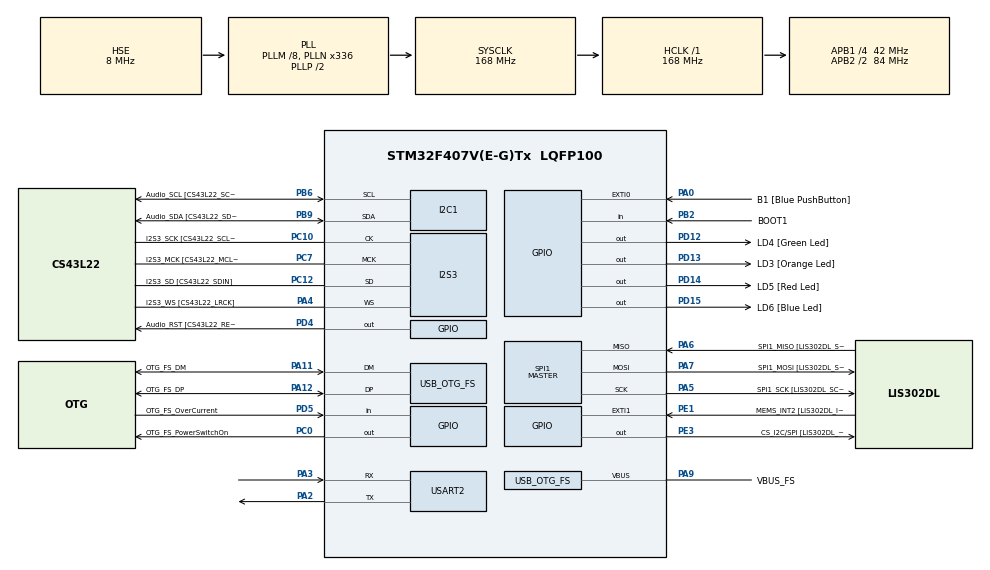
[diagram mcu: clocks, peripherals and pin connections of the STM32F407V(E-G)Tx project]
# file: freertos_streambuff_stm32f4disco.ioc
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FREERTOS.Tasks01=defaultTask,24,128,StartDefaultTask,Default,NULL,Dynamic,NULL,NULL
I2S3.AudioFreq-Half_Duplex_Master=I2S_AUDIOFREQ_96K
I2S3.ErrorAudioFreq=-2.34 %
I2S3.ErrorAudioFreq-Half_Duplex_Master=0.8 %
I2S3.FullDuplexMode=I2S_FULLDUPLEXMODE_DISABLE
I2S3.Instance=SPI$Index
I2S3.RealAudioFreq=93.75 KHz
I2S3.RealAudioFreq-Half_Duplex_Master=96.774 KHz
I2S3.VirtualMode=I2S_MODE_MASTER
Mcu.Family=STM32F4
Mcu.Name=STM32F407V(E-G)Tx
Mcu.Package=LQFP100
NVIC.OTG_FS_IRQn=true\:0\:0\:false\:false\:true\:false\:true\:true
NVIC.PriorityGroup=NVIC_PRIORITYGROUP_4
NVIC.USART2_IRQn=true\:0\:0\:false\:false\:true\:true\:true\:true
PA0-WKUP.GPIO_Label=B1 [Blue PushButton]
PA0-WKUP.GPIO_ModeDefaultEXTI=GPIO_MODE_IT_RISING_FALLING
PA0-WKUP.GPIO_PuPd=GPIO_PULLDOWN
PA0-WKUP.Signal=GPXTI0
PA10.GPIO_Label=OTG_FS_ID
PA10.GPIO_Mode=GPIO_MODE_AF_PP
PA10.GPIO_PuPd=GPIO_NOPULL
PA10.GPIO_Speed=GPIO_SPEED_FREQ_LOW
PA10.Signal=USB_OTG_FS_ID
PA11.GPIO_Label=OTG_FS_DM
PA11.GPIO_Mode=GPIO_MODE_AF_PP
PA11.GPIO_PuPd=GPIO_NOPULL
PA11.GPIO_Speed=GPIO_SPEED_FREQ_LOW
PA11.Mode=Host_Only
PA11.Signal=USB_OTG_FS_DM
PA12.GPIO_Label=OTG_FS_DP
PA12.GPIO_Mode=GPIO_MODE_AF_PP
PA12.GPIO_PuPd=GPIO_NOPULL
PA12.GPIO_Speed=GPIO_SPEED_FREQ_LOW
PA12.Mode=Host_Only
PA12.Signal=USB_OTG_FS_DP
PA13.GPIO_Label=SWDIO
PA13.Mode=Serial_Wire
PA13.Signal=SYS_JTMS-SWDIO
PA14.GPIO_Label=SWCLK
PA14.Mode=Serial_Wire
PA14.Signal=SYS_JTCK-SWCLK
PA2.Mode=Asynchronous
PA2.Signal=USART2_TX
PA3.Mode=Asynchronous
PA3.Signal=USART2_RX
PA4.GPIO_Label=I2S3_WS [CS43L22_LRCK]
PA4.GPIO_Mode=GPIO_MODE_AF_PP
PA4.GPIO_PuPd=GPIO_NOPULL
PA4.GPIO_Speed=GPIO_SPEED_FREQ_LOW
PA4.Mode=Half_Duplex_Master
PA4.Signal=I2S3_WS
PA5.GPIO_Label=SPI1_SCK [LIS302DL_SCL/SPC]
PA5.GPIO_Mode=GPIO_MODE_AF_PP
PA5.GPIO_PuPd=GPIO_NOPULL
PA5.GPIO_Speed=GPIO_SPEED_FREQ_LOW
PA5.Mode=Full_Duplex_Master
PA5.Signal=SPI1_SCK
PA6.GPIO_Label=SPI1_MISO [LIS302DL_SDO]
PA6.GPIO_Mode=GPIO_MODE_AF_PP
PA6.GPIO_PuPd=GPIO_NOPULL
PA6.GPIO_Speed=GPIO_SPEED_FREQ_LOW
PA6.Mode=Full_Duplex_Master
PA6.Signal=SPI1_MISO
PA7.GPIO_Label=SPI1_MOSI [LIS302DL_SDA/SDI/SDO]
PA7.GPIO_Mode=GPIO_MODE_AF_PP
PA7.GPIO_PuPd=GPIO_NOPULL
PA7.GPIO_Speed=GPIO_SPEED_FREQ_LOW
PA7.Mode=Full_Duplex_Master
PA7.Signal=SPI1_MOSI
PA9.GPIO_Label=VBUS_FS
PA9.GPIO_Mode=GPIO_MODE_INPUT
PA9.GPIO_PuPd=GPIO_NOPULL
PA9.Mode=Activate_VBUS
PA9.Signal=USB_OTG_FS_VBUS
PB10.GPIO_Label=CLK_IN [MP45DT02_CLK]
PB10.GPIO_Mode=GPIO_MODE_AF_PP
PB10.GPIO_PuPd=GPIO_NOPULL
PB10.GPIO_Speed=GPIO_SPEED_FREQ_LOW
PB10.Signal=I2S2_CK
PB2.GPIO_Label=BOOT1
PB2.GPIO_Mode=GPIO_MODE_INPUT
PB2.GPIO_PuPd=GPIO_NOPULL
PB2.Signal=GPIO_Input
PB3.GPIO_Label=SWO
PB3.Signal=SYS_JTDO-SWO
PB6.GPIO_Label=Audio_SCL [CS43L22_SCL]
PB6.GPIO_Mode=GPIO_MODE_AF_OD
PB6.GPIO_PuPd=GPIO_NOPULL
PB6.GPIO_Speed=GPIO_SPEED_FREQ_LOW
PB6.Mode=I2C
PB6.Signal=I2C1_SCL
PB9.GPIO_Label=Audio_SDA [CS43L22_SDA]
PB9.GPIO_Mode=GPIO_MODE_AF_OD
PB9.GPIO_PuPd=GPIO_NOPULL
PB9.GPIO_Speed=GPIO_SPEED_FREQ_LOW
PB9.Mode=I2C
PB9.Signal=I2C1_SDA
PC0.GPIO_Label=OTG_FS_PowerSwitchOn
PC0.GPIO_PuPd=GPIO_NOPULL
PC0.GPIO_Speed=GPIO_SPEED_FREQ_LOW
PC0.PinState=GPIO_PIN_SET
PC0.Signal=GPIO_Output
PC10.GPIO_Label=I2S3_SCK [CS43L22_SCLK]
PC10.GPIO_Mode=GPIO_MODE_AF_PP
PC10.GPIO_PuPd=GPIO_NOPULL
PC10.GPIO_Speed=GPIO_SPEED_FREQ_LOW
PC10.Mode=Half_Duplex_Master
PC10.Signal=I2S3_CK
PC12.GPIO_Label=I2S3_SD [CS43L22_SDIN]
PC12.GPIO_Mode=GPIO_MODE_AF_PP
PC12.GPIO_PuPd=GPIO_NOPULL
PC12.GPIO_Speed=GPIO_SPEED_FREQ_LOW
PC12.Mode=Half_Duplex_Master
PC12.Signal=I2S3_SD
PC14-OSC32_IN.GPIO_Label=PC14-OSC32_IN
PC14-OSC32_IN.Mode=LSE-External-Oscillator
PC14-OSC32_IN.Signal=RCC_OSC32_IN
PC15-OSC32_OUT.GPIO_Label=PC15-OSC32_OUT
PC15-OSC32_OUT.Mode=LSE-External-Oscillator
PC15-OSC32_OUT.Signal=RCC_OSC32_OUT
PC3.GPIO_Label=PDM_OUT [MP45DT02_DOUT]
PC3.GPIO_Mode=GPIO_MODE_AF_PP
PC3.GPIO_PuPd=GPIO_NOPULL
PC3.GPIO_Speed=GPIO_SPEED_FREQ_LOW
PC3.Signal=I2S2_SD
PC7.GPIO_Label=I2S3_MCK [CS43L22_MCLK]
PC7.GPIO_Mode=GPIO_MODE_AF_PP
PC7.GPIO_PuPd=GPIO_NOPULL
PC7.GPIO_Speed=GPIO_SPEED_FREQ_LOW
PC7.Mode=Master_Clock_Activated
PC7.Signal=I2S3_MCK
PD12.GPIO_Label=LD4 [Green Led]
PD12.GPIO_PuPd=GPIO_NOPULL
PD12.GPIO_Speed=GPIO_SPEED_FREQ_LOW
PD12.Signal=GPIO_Output
PD13.GPIO_Label=LD3 [Orange Led]
PD13.GPIO_PuPd=GPIO_NOPULL
PD13.GPIO_Speed=GPIO_SPEED_FREQ_LOW
PD13.Signal=GPIO_Output
PD14.GPIO_Label=LD5 [Red Led]
PD14.GPIO_PuPd=GPIO_NOPULL
PD14.GPIO_Speed=GPIO_SPEED_FREQ_LOW
PD14.Signal=GPIO_Output
PD15.GPIO_Label=LD6 [Blue Led]
PD15.GPIO_PuPd=GPIO_NOPULL
PD15.GPIO_Speed=GPIO_SPEED_FREQ_LOW
PD15.Signal=GPIO_Output
PD4.GPIO_Label=Audio_RST [CS43L22_RESET]
PD4.GPIO_PuPd=GPIO_NOPULL
PD4.GPIO_Speed=GPIO_SPEED_FREQ_LOW
PD4.Signal=GPIO_Output
PD5.GPIO_Label=OTG_FS_OverCurrent
PD5.GPIO_Mode=GPIO_MODE_INPUT
PD5.GPIO_PuPd=GPIO_NOPULL
PD5.Signal=GPIO_Input
PE1.GPIO_Label=MEMS_INT2 [LIS302DL_INT2]
PE1.GPIO_ModeDefaultEXTI=GPIO_MODE_EVT_RISING
PE1.GPIO_PuPd=GPIO_NOPULL
PE1.Signal=GPXTI1
PE3.GPIO_Label=CS_I2C/SPI [LIS302DL_CS_I2C/SPI]
PE3.GPIO_PuPd=GPIO_NOPULL
PE3.GPIO_Speed=GPIO_SPEED_FREQ_LOW
PE3.Signal=GPIO_Output
PH0-OSC_IN.GPIO_Label=PH0-OSC_IN
PH0-OSC_IN.Mode=HSE-External-Oscillator
PH0-OSC_IN.Signal=RCC_OSC_IN
PH1-OSC_OUT.GPIO_Label=PH1-OSC_OUT
PH1-OSC_OUT.Mode=HSE-External-Oscillator
PH1-OSC_OUT.Signal=RCC_OSC_OUT
ProjectManager.HeapSize=0x200
ProjectManager.StackSize=0x400
ProjectManager.TargetToolchain=STM32CubeIDE
RCC.48MHZClocksFreq_Value=48000000
RCC.AHBFreq_Value=168000000
RCC.APB1CLKDivider=RCC_HCLK_DIV4
RCC.APB1Freq_Value=42000000
RCC.APB1TimFreq_Value=84000000
RCC.APB2CLKDivider=RCC_HCLK_DIV2
RCC.APB2Freq_Value=84000000
RCC.APB2TimFreq_Value=168000000
RCC.CortexFreq_Value=168000000
RCC.HCLKFreq_Value=168000000
RCC.HSE_VALUE=8000000
RCC.HSI_VALUE=16000000
RCC.PLLM=8
RCC.PLLN=336
RCC.PLLQ=7
RCC.SYSCLKFreq_VALUE=168000000
RCC.SYSCLKSource=RCC_SYSCLKSOURCE_PLLCLK
RCC.VCOOutputFreq_Value=336000000
SPI1.BaudRatePrescaler-Full_Duplex_Master=SPI_BAUDRATEPRESCALER_2
SPI1.CalculateBaudRate-Full_Duplex_Master=42.0 MBits/s
SPI1.Direction=SPI_DIRECTION_2LINES
SPI1.Mode=SPI_MODE_MASTER
SPI1.Mode-Full_Duplex_Master=SPI_MODE_MASTER
SPI1.VirtualType=VM_MASTER
USART2.VirtualMode=VM_ASYNC
USB_HOST.BSP.number=1
USB_HOST.USBH_HandleTypeDef-CDC_FS=hUsbHostFS
USB_HOST.USBH_USE_OS-CDC_FS=0
USB_HOST.VirtualModeFS=Cdc
USB_HOST0.BSP.STBoard=false
USB_HOST0.BSP.api=Unknown
USB_HOST0.BSP.i2caddr=0
USB_HOST0.BSP.i2creg=0
USB_HOST0.BSP.instance=PC0
USB_HOST0.BSP.ip=GPIO
USB_HOST0.BSP.mode=Output
USB_HOST0.BSP.name=Drive_VBUS_FS
USB_HOST0.BSP.solution=PC0
USB_OTG_FS.VirtualMode=Host_Only
USB_OTG_FS.phy_itface=HCD_PHY_EMBEDDED
VP_FREERTOS_VS_CMSIS_V2.Mode=CMSIS_V2
VP_USB_HOST_VS_USB_HOST_CDC_FS.Mode=CDC_FS
board=STM32F407G-DISC1

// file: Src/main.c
/* USER CODE BEGIN Header */
/**
  ******************************************************************************
  * @file           : main.c
  * @brief          : Main program body
  ******************************************************************************
  * @attention
  *
  * <h2><center>&copy; Copyright (c) 2020 STMicroelectronics.
  * All rights reserved.</center></h2>
  *
  * This software component is licensed by ST under Ultimate Liberty license
  * SLA0044, the "License"; You may not use this file except in compliance with
  * the License. You may obtain a copy of the License at:
  *                             www.st.com/SLA0044
  *
  ******************************************************************************
  */
/* USER CODE END Header */
#include "main.h"
#include "cmsis_os.h"
#include "usb_host.h"

/* USER CODE BEGIN Includes */
#include "bsp.h"
#include "thread_defs.h"
#include "StreamBufferDemo.h"
/* USER CODE END Includes */

I2C_HandleTypeDef hi2c1;

I2S_HandleTypeDef hi2s3;

SPI_HandleTypeDef hspi1;

UART_HandleTypeDef huart2;

/* Definitions for defaultTask */
osThreadId_t defaultTaskHandle;
const osThreadAttr_t defaultTask_attributes = {
  .name = "defaultTask",
  .priority = (osPriority_t) osPriorityNormal,
  .stack_size = 128 * 4
};

void SystemClock_Config(void);
static void MX_GPIO_Init(void);
static void MX_I2C1_Init(void);
static void MX_I2S3_Init(void);
static void MX_SPI1_Init(void);
static void MX_USART2_UART_Init(void);
void StartDefaultTask(void *argument);

int main(void)
{

  /* MCU Configuration--------------------------------------------------------*/

  /* Reset of all peripherals, Initializes the Flash interface and the Systick. */
  HAL_Init();

  /* Configure the system clock */
  SystemClock_Config();

  /* USER CODE BEGIN SysInit */
  HAL_NVIC_SetPriority(SysTick_IRQn, configLIBRARY_MAX_SYSCALL_INTERRUPT_PRIORITY +1, 0);
  /* USER CODE END SysInit */

  /* Initialize all configured peripherals */
  MX_GPIO_Init();
  MX_I2C1_Init();
  MX_I2S3_Init();
  MX_SPI1_Init();
  MX_USART2_UART_Init();
  /* USER CODE BEGIN 2 */
  HAL_NVIC_DisableIRQ(USART2_IRQn);
  HAL_NVIC_SetPriority(USART2_IRQn, configLIBRARY_MAX_SYSCALL_INTERRUPT_PRIORITY +1, 0);
  HAL_NVIC_EnableIRQ(USART2_IRQn);
  /* USER CODE END 2 */

  /* Init scheduler */
  osKernelInitialize();

  /* Create the thread(s) */
  /* creation of defaultTask */
  defaultTaskHandle = osThreadNew(StartDefaultTask, NULL, &defaultTask_attributes);

  /* Start scheduler */
  osKernelStart();

  /* We should never get here as control is now taken by the scheduler */
  /* Infinite loop */
  while (1)
  {

  }
}

void SystemClock_Config(void)
{
  RCC_OscInitTypeDef RCC_OscInitStruct = {0};
  RCC_ClkInitTypeDef RCC_ClkInitStruct = {0};
  RCC_PeriphCLKInitTypeDef PeriphClkInitStruct = {0};

  /** Configure the main internal regulator output voltage
  */
  __HAL_RCC_PWR_CLK_ENABLE();
  __HAL_PWR_VOLTAGESCALING_CONFIG(PWR_REGULATOR_VOLTAGE_SCALE1);
  /** Initializes the RCC Oscillators according to the specified parameters
  * in the RCC_OscInitTypeDef structure.
  */
  RCC_OscInitStruct.OscillatorType = RCC_OSCILLATORTYPE_HSE;
  RCC_OscInitStruct.HSEState = RCC_HSE_ON;
  RCC_OscInitStruct.PLL.PLLState = RCC_PLL_ON;
  RCC_OscInitStruct.PLL.PLLSource = RCC_PLLSOURCE_HSE;
  RCC_OscInitStruct.PLL.PLLM = 8;
  RCC_OscInitStruct.PLL.PLLN = 336;
  RCC_OscInitStruct.PLL.PLLP = RCC_PLLP_DIV2;
  RCC_OscInitStruct.PLL.PLLQ = 7;
  if (HAL_RCC_OscConfig(&RCC_OscInitStruct) != HAL_OK)
  {
    Error_Handler();
  }
  /** Initializes the CPU, AHB and APB buses clocks
  */
  RCC_ClkInitStruct.ClockType = RCC_CLOCKTYPE_HCLK|RCC_CLOCKTYPE_SYSCLK
                              |RCC_CLOCKTYPE_PCLK1|RCC_CLOCKTYPE_PCLK2;
  RCC_ClkInitStruct.SYSCLKSource = RCC_SYSCLKSOURCE_PLLCLK;
  RCC_ClkInitStruct.AHBCLKDivider = RCC_SYSCLK_DIV1;
  RCC_ClkInitStruct.APB1CLKDivider = RCC_HCLK_DIV4;
  RCC_ClkInitStruct.APB2CLKDivider = RCC_HCLK_DIV2;

  if (HAL_RCC_ClockConfig(&RCC_ClkInitStruct, FLASH_LATENCY_5) != HAL_OK)
  {
    Error_Handler();
  }
  PeriphClkInitStruct.PeriphClockSelection = RCC_PERIPHCLK_I2S;
  PeriphClkInitStruct.PLLI2S.PLLI2SN = 192;
  PeriphClkInitStruct.PLLI2S.PLLI2SR = 2;
  if (HAL_RCCEx_PeriphCLKConfig(&PeriphClkInitStruct) != HAL_OK)
  {
    Error_Handler();
  }
}

static void MX_I2C1_Init(void)
{

  hi2c1.Instance = I2C1;
  hi2c1.Init.ClockSpeed = 100000;
  hi2c1.Init.DutyCycle = I2C_DUTYCYCLE_2;
  hi2c1.Init.OwnAddress1 = 0;
  hi2c1.Init.AddressingMode = I2C_ADDRESSINGMODE_7BIT;
  hi2c1.Init.DualAddressMode = I2C_DUALADDRESS_DISABLE;
  hi2c1.Init.OwnAddress2 = 0;
  hi2c1.Init.GeneralCallMode = I2C_GENERALCALL_DISABLE;
  hi2c1.Init.NoStretchMode = I2C_NOSTRETCH_DISABLE;
  if (HAL_I2C_Init(&hi2c1) != HAL_OK)
  {
    Error_Handler();
  }

}

static void MX_I2S3_Init(void)
{

  hi2s3.Instance = SPI3;
  hi2s3.Init.Mode = I2S_MODE_MASTER_TX;
  hi2s3.Init.Standard = I2S_STANDARD_PHILIPS;
  hi2s3.Init.DataFormat = I2S_DATAFORMAT_16B;
  hi2s3.Init.MCLKOutput = I2S_MCLKOUTPUT_ENABLE;
  hi2s3.Init.AudioFreq = I2S_AUDIOFREQ_96K;
  hi2s3.Init.CPOL = I2S_CPOL_LOW;
  hi2s3.Init.ClockSource = I2S_CLOCK_PLL;
  hi2s3.Init.FullDuplexMode = I2S_FULLDUPLEXMODE_DISABLE;
  if (HAL_I2S_Init(&hi2s3) != HAL_OK)
  {
    Error_Handler();
  }

}

static void MX_SPI1_Init(void)
{

  /* SPI1 parameter configuration*/
  hspi1.Instance = SPI1;
  hspi1.Init.Mode = SPI_MODE_MASTER;
  hspi1.Init.Direction = SPI_DIRECTION_2LINES;
  hspi1.Init.DataSize = SPI_DATASIZE_8BIT;
  hspi1.Init.CLKPolarity = SPI_POLARITY_LOW;
  hspi1.Init.CLKPhase = SPI_PHASE_1EDGE;
  hspi1.Init.NSS = SPI_NSS_SOFT;
  hspi1.Init.BaudRatePrescaler = SPI_BAUDRATEPRESCALER_2;
  hspi1.Init.FirstBit = SPI_FIRSTBIT_MSB;
  hspi1.Init.TIMode = SPI_TIMODE_DISABLE;
  hspi1.Init.CRCCalculation = SPI_CRCCALCULATION_DISABLE;
  hspi1.Init.CRCPolynomial = 10;
  if (HAL_SPI_Init(&hspi1) != HAL_OK)
  {
    Error_Handler();
  }

}

static void MX_USART2_UART_Init(void)
{

  /* USER CODE BEGIN USART2_Init 0 */
  const uint8_t HelloUart2[] = "Hello uart2!\r\n";
  /* USER CODE END USART2_Init 0 */

  huart2.Instance = USART2;
  huart2.Init.BaudRate = 115200;
  huart2.Init.WordLength = UART_WORDLENGTH_8B;
  huart2.Init.StopBits = UART_STOPBITS_1;
  huart2.Init.Parity = UART_PARITY_NONE;
  huart2.Init.Mode = UART_MODE_TX_RX;
  huart2.Init.HwFlowCtl = UART_HWCONTROL_NONE;
  huart2.Init.OverSampling = UART_OVERSAMPLING_16;
  if (HAL_UART_Init(&huart2) != HAL_OK)
  {
    Error_Handler();
  }
  /* USER CODE BEGIN USART2_Init 2 */
  HAL_UART_Transmit_IT(&huart2, (uint8_t *)HelloUart2, sizeof(HelloUart2));
  /* USER CODE END USART2_Init 2 */

}

static void MX_GPIO_Init(void)
{
  GPIO_InitTypeDef GPIO_InitStruct = {0};

  /* GPIO Ports Clock Enable */
  __HAL_RCC_GPIOE_CLK_ENABLE();
  __HAL_RCC_GPIOC_CLK_ENABLE();
  __HAL_RCC_GPIOH_CLK_ENABLE();
  __HAL_RCC_GPIOA_CLK_ENABLE();
  __HAL_RCC_GPIOB_CLK_ENABLE();
  __HAL_RCC_GPIOD_CLK_ENABLE();

  /*Configure GPIO pin Output Level */
  HAL_GPIO_WritePin(CS_I2C_SPI_GPIO_Port, CS_I2C_SPI_Pin, GPIO_PIN_RESET);

  /*Configure GPIO pin Output Level */
  HAL_GPIO_WritePin(OTG_FS_PowerSwitchOn_GPIO_Port, OTG_FS_PowerSwitchOn_Pin, GPIO_PIN_SET);

  /*Configure GPIO pin Output Level */
  HAL_GPIO_WritePin(GPIOD, LD4_Pin|LD3_Pin|LD5_Pin|LD6_Pin
                          |Audio_RST_Pin, GPIO_PIN_RESET);

  /*Configure GPIO pin : CS_I2C_SPI_Pin */
  GPIO_InitStruct.Pin = CS_I2C_SPI_Pin;
  GPIO_InitStruct.Mode = GPIO_MODE_OUTPUT_PP;
  GPIO_InitStruct.Pull = GPIO_NOPULL;
  GPIO_InitStruct.Speed = GPIO_SPEED_FREQ_LOW;
  HAL_GPIO_Init(CS_I2C_SPI_GPIO_Port, &GPIO_InitStruct);

  /*Configure GPIO pin : OTG_FS_PowerSwitchOn_Pin */
  GPIO_InitStruct.Pin = OTG_FS_PowerSwitchOn_Pin;
  GPIO_InitStruct.Mode = GPIO_MODE_OUTPUT_PP;
  GPIO_InitStruct.Pull = GPIO_NOPULL;
  GPIO_InitStruct.Speed = GPIO_SPEED_FREQ_LOW;
  HAL_GPIO_Init(OTG_FS_PowerSwitchOn_GPIO_Port, &GPIO_InitStruct);

  /*Configure GPIO pin : PDM_OUT_Pin */
  GPIO_InitStruct.Pin = PDM_OUT_Pin;
  GPIO_InitStruct.Mode = GPIO_MODE_AF_PP;
  GPIO_InitStruct.Pull = GPIO_NOPULL;
  GPIO_InitStruct.Speed = GPIO_SPEED_FREQ_LOW;
  GPIO_InitStruct.Alternate = GPIO_AF5_SPI2;
  HAL_GPIO_Init(PDM_OUT_GPIO_Port, &GPIO_InitStruct);

  /*Configure GPIO pin : B1_Pin */
  GPIO_InitStruct.Pin = B1_Pin;
  GPIO_InitStruct.Mode = GPIO_MODE_IT_RISING_FALLING;
  GPIO_InitStruct.Pull = GPIO_PULLDOWN;
  HAL_GPIO_Init(B1_GPIO_Port, &GPIO_InitStruct);

  /*Configure GPIO pin : BOOT1_Pin */
  GPIO_InitStruct.Pin = BOOT1_Pin;
  GPIO_InitStruct.Mode = GPIO_MODE_INPUT;
  GPIO_InitStruct.Pull = GPIO_NOPULL;
  HAL_GPIO_Init(BOOT1_GPIO_Port, &GPIO_InitStruct);

  /*Configure GPIO pin : CLK_IN_Pin */
  GPIO_InitStruct.Pin = CLK_IN_Pin;
  GPIO_InitStruct.Mode = GPIO_MODE_AF_PP;
  GPIO_InitStruct.Pull = GPIO_NOPULL;
  GPIO_InitStruct.Speed = GPIO_SPEED_FREQ_LOW;
  GPIO_InitStruct.Alternate = GPIO_AF5_SPI2;
  HAL_GPIO_Init(CLK_IN_GPIO_Port, &GPIO_InitStruct);

  /*Configure GPIO pins : LD4_Pin LD3_Pin LD5_Pin LD6_Pin
                           Audio_RST_Pin */
  GPIO_InitStruct.Pin = LD4_Pin|LD3_Pin|LD5_Pin|LD6_Pin
                          |Audio_RST_Pin;
  GPIO_InitStruct.Mode = GPIO_MODE_OUTPUT_PP;
  GPIO_InitStruct.Pull = GPIO_NOPULL;
  GPIO_InitStruct.Speed = GPIO_SPEED_FREQ_LOW;
  HAL_GPIO_Init(GPIOD, &GPIO_InitStruct);

  /*Configure GPIO pin : OTG_FS_OverCurrent_Pin */
  GPIO_InitStruct.Pin = OTG_FS_OverCurrent_Pin;
  GPIO_InitStruct.Mode = GPIO_MODE_INPUT;
  GPIO_InitStruct.Pull = GPIO_NOPULL;
  HAL_GPIO_Init(OTG_FS_OverCurrent_GPIO_Port, &GPIO_InitStruct);

  /*Configure GPIO pin : MEMS_INT2_Pin */
  GPIO_InitStruct.Pin = MEMS_INT2_Pin;
  GPIO_InitStruct.Mode = GPIO_MODE_EVT_RISING;
  GPIO_InitStruct.Pull = GPIO_NOPULL;
  HAL_GPIO_Init(MEMS_INT2_GPIO_Port, &GPIO_InitStruct);

}

void StartDefaultTask(void *argument)
{
  /* init code for USB_HOST */
  MX_USB_HOST_Init();
  /* USER CODE BEGIN 5 */
  BSP_LED_Init(LED3);
  {
	osThreadId_t checkTaskHandle;

	checkTaskHandle = osThreadNew(SINGLELED_Task, NULL, &singleLedTask_attributes);
	if(checkTaskHandle == NULL)
	{
	  Error_Handler();
	}
	checkTaskHandle = osThreadNew(GROUPLED_Task, NULL, &groupLedTask_attributes);
	if(checkTaskHandle == NULL)
	{
	  Error_Handler();
	}
	checkTaskHandle = osThreadNew(ButtonRead_Task, NULL, &buttonReadTask_attributes);
	if(checkTaskHandle == NULL)
	{
	  Error_Handler();
	}

	vStartStreamBufferTasks();
  }

  /* Infinite loop */
  for(;;)
  {
    osDelay(400);
    BSP_LED_Toggle(LED3);
    vPeriodicStreamBufferProcessing();

    if(xAreStreamBufferTasksStillRunning() == pdFAIL)
    {
      //Error_Handler();
    }
  }
  /* USER CODE END 5 */
}

void Error_Handler(void)
{
  /* USER CODE BEGIN Error_Handler_Debug */
  /* User can add his own implementation to report the HAL error return state */
  while(1);
  /* USER CODE END Error_Handler_Debug */
}

/************************ (C) COPYRIGHT STMicroelectronics *****END OF FILE****/

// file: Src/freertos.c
/* USER CODE BEGIN Header */
/**
  ******************************************************************************
  * File Name          : freertos.c
  * Description        : Code for freertos applications
  ******************************************************************************
  * @attention
  *
  * <h2><center>&copy; Copyright (c) 2020 STMicroelectronics.
  * All rights reserved.</center></h2>
  *
  * This software component is licensed by ST under Ultimate Liberty license
  * SLA0044, the "License"; You may not use this file except in compliance with
  * the License. You may obtain a copy of the License at:
  *                             www.st.com/SLA0044
  *
  ******************************************************************************
  */
/* USER CODE END Header */

#include "FreeRTOS.h"
#include "task.h"
#include "main.h"

/* USER CODE BEGIN Includes */
#include "thread_defs.h"
#include "bsp.h"
/* USER CODE END Includes */

/* USER CODE BEGIN Variables */

const osThreadAttr_t singleLedTask_attributes = {
                 .name = "singleLedTask",
                 .priority = (osPriority_t) osPriorityNormal,
                 .stack_size = 128 * 4
};
const osThreadAttr_t groupLedTask_attributes = {
                 .name = "groupLedTask",
                 .priority = (osPriority_t) osPriorityNormal,
                 .stack_size = 128 * 4
};

/* USER CODE END Variables */

/* USER CODE BEGIN Application */
void SINGLELED_Task(void *argument)
{
  BSP_LED_Init(LED4);
  /* Infinite loop */
  for(;;)
  {
    osDelay(100);
    BSP_LED_Toggle(LED4);
  }
}

void GROUPLED_Task(void *argument)
{
  //BSP_LED_Init(LED3);
  BSP_LED_Init(LED5);
  BSP_LED_Init(LED6);
  /* Infinite loop */
  for(;;)
  {
    osDelay(400);
    //BSP_LED_Toggle(LED3);
    BSP_LED_Toggle(LED5);
    BSP_LED_Toggle(LED6);
  }
}

const osThreadAttr_t buttonReadTask_attributes = {
                 .name = "buttonReadTask",
                 .priority = (osPriority_t) osPriorityNormal,
                 .stack_size = 128 * 4
};

StaticSemaphore_t	xSemaButton_cb_mem;

osSemaphoreId_t xSemaButtonStateChanged;

osSemaphoreAttr_t  xSemaButtonStateChanged_attribute = {
                .name = "semaButtonStateChanged",
                .cb_mem = &xSemaButton_cb_mem,    ///< memory for control block
                .cb_size = sizeof(StaticSemaphore_t),   ///< size of provided memory for control block
};

void ButtonRead_Task(void *argument)
{
  char buff[10] = {'0', '0', '0', '0', '0', '0', '0', '0', '0', ' '};
  xSemaButtonStateChanged = osSemaphoreNew (1, 0 , &xSemaButtonStateChanged_attribute);
  uint32_t BSP_PB1_State = 0xffff;

  if( xSemaButtonStateChanged != NULL )
  {	//BSP_PB_Init(BUTTON_KEY, BUTTON_MODE_EXTI);
    /* EXTI interrupt init*/
    // the preemption priority for EXTI0_IRQn has to be above or equal to
    // configLIBRARY_MAX_SYSCALL_INTERRUPT_PRIORITY in order to invoke syscall
    // from EXTI0_ISR
    HAL_NVIC_SetPriority(EXTI0_IRQn, configLIBRARY_MAX_SYSCALL_INTERRUPT_PRIORITY +1, 0);
	HAL_NVIC_EnableIRQ(EXTI0_IRQn);
  }

  for(;;)
  {
    if( osSemaphoreAcquire( xSemaButtonStateChanged, 8000 ) == osOK )
    {
      uint32_t tCount = osKernelGetTickCount();
      uint32_t BSP_PB_Read = BSP_PB_GetState(BUTTON_KEY);

      if(BSP_PB1_State == BSP_PB_Read)
	  {
        osDelay(10);
        HAL_NVIC_EnableIRQ(EXTI0_IRQn);
      }
      else
      {
    	HAL_UART_StateTypeDef  uart2_state;

        BSP_PB1_State = BSP_PB_Read;
        sprintf ( buff, "%8ld", tCount);
        do
        {
          uart2_state = HAL_UART_GetState(&huart2);
          osDelay(10);
        } while( HAL_UART_STATE_BUSY_TX == uart2_state ||
        		HAL_UART_STATE_BUSY == uart2_state) ;
        HAL_UART_Transmit_IT(&huart2, (uint8_t *)buff, 10);
        BSP_LED_Toggle(LED3);
        osDelay(10);
        HAL_NVIC_EnableIRQ(EXTI0_IRQn);
        //osDelay(100);
        do
        {
          osDelay(10);
          uart2_state = HAL_UART_GetState(&huart2);
        } while( HAL_UART_STATE_BUSY_TX == uart2_state ||
        		HAL_UART_STATE_BUSY == uart2_state) ;
        if(BSP_PB1_State)
        {
          HAL_UART_Transmit_IT(&huart2, (uint8_t *)"button state high\n\r", sizeof("button state high\n\r"));
        }
        else
        {
          HAL_UART_Transmit_IT(&huart2, (uint8_t *)"button state low\n\r", sizeof("button state low\n\r"));
        }
      }
    }
    else
    {
      // timeout to acquire xSema
      HAL_UART_Transmit_IT(&huart2, (uint8_t *)"time expired to wait for button\r\n", sizeof("time expired to wait for button\r\n"));
    }
  }
}

/* USER CODE END Application */

/************************ (C) COPYRIGHT STMicroelectronics *****END OF FILE****/
